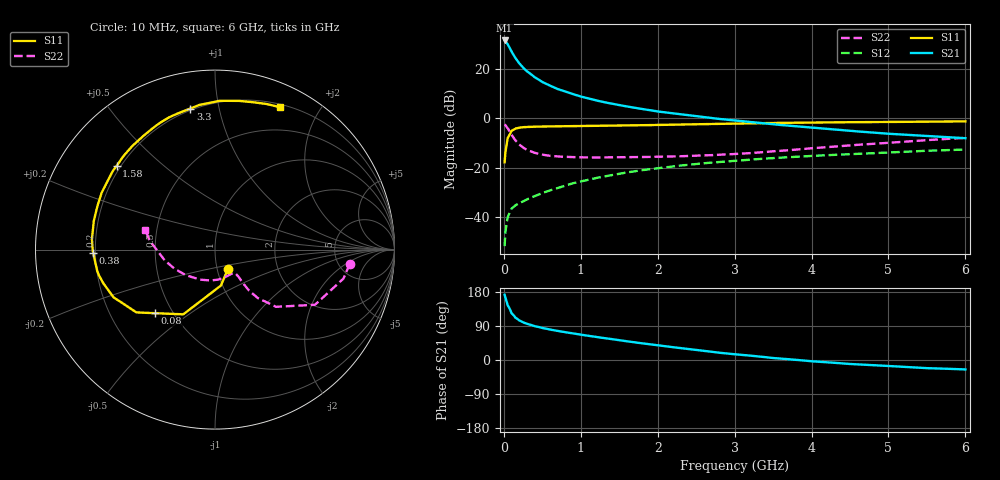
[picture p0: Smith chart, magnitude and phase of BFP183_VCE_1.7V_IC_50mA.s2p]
! Infineon Technologies  Discrete & RF Semiconductors
! BFP183
! VCE = 1.7 V,  IC =  50 mA
! Common Emitter S-Parameters:  Jan 2016
# GHz  S  MA  R  50
!  f  S11  S21  S12  S22
! GHz  MAG  ANG  MAG  ANG  MAG  ANG  MAG  ANG
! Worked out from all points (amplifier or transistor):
!   210 points, 10 MHz to 6 GHz, reference 50 ohm
!   highest |S21| = 31.6 dB at 10 MHz (marker M1)
!   |S21| within 3 dB of that: start of sweep to 74.41 MHz
!   unconditionally stable (mu >= 1): start of sweep to 29.66 MHz; 208.6 MHz to end of sweep
!   at 185 MHz: K = 0.93, MSG = 28.8 dB, |S12| = -34.6 dB
!   at 1.52 GHz: K = 1.64, MAG = 9.1 dB, |S12| = -22.3 dB
!   at 6 GHz: K = 1.29, MAG = -0.9 dB, |S12| = -12.6 dB
!   S11 on the Smith chart (normalised r, x): 10 MHz: 1.13, -0.25; 80 MHz: 0.40, -0.37; 380 MHz: 0.19, -0.01; 1.58 GHz: 0.18, +0.36; 3.3 GHz: 0.19, +0.82; 6 GHz: 0.23, +1.53
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0.01  0.1294 -55.6  37.84 172.1  0.0026 70.1  0.7549 -6.1
0.02  0.2032 -80.8  37.19 164.4  0.0049 69.0  0.7339 -12.7
0.05  0.4016 -116.1  31.79 144.3  0.0099 61.3  0.6362 -28.9
0.08  0.4865 -133.3  25.75 133.6  0.0128 53.0  0.5298 -36.4
0.1  0.5607 -141.4  22.43 123.5  0.0149 49.3  0.4657 -43.2
0.15  0.625 -154.9  16.71 111.8  0.0174 45.8  0.3588 -48.6
0.155  0.6269 -155.8  16.33 111.2  0.0176 45.9  0.3526 -48.7
0.2  0.6498 -163.2  13.06 104.5  0.0193 46.5  0.2967 -50.3
0.24  0.6626 -167.6  11.13 100.5  0.0206 47.3  0.2653 -50.3
0.3  0.6706 -173.6  8.996 95.4  0.023 50.3  0.2308 -49.9
0.38  0.6784 -178.3  7.261 90.8  0.026 53.2  0.2073 -49.3
0.5  0.688 175.3  5.466 84.5  0.0309 55.4  0.1851 -49.0
0.6  0.6893 170.8  4.606 80.3  0.0349 57.7  0.1749 -49.3
0.8  0.6953 163.3  3.473 73.2  0.0436 59.8  0.1668 -51.7
1.02  0.7022 156.1  2.727 66.2  0.0539 60.7  0.1629 -56.1
1.58  0.7191 139.7  1.774 49.9  0.0799 58.1  0.164 -71.1
2.02  0.7392 128.0  1.371 38.3  0.0995 54.2  0.1684 -85.5
3.1  0.7889 103.7  0.877 13.5  0.1429 43.0  0.1941 -125.4
3.3  0.7979 99.9  0.817 9.6  0.1502 40.8  0.2037 -132.5
4.1  0.8304 86.7  0.632 -4.6  0.1775 32.5  0.2555 -157.6
5.1  0.8506 74.3  0.48 -16.9  0.2074 23.4  0.3293 179.4
6  0.872 65.5  0.398 -24.9  0.2345 13.8  0.4046 164.3
